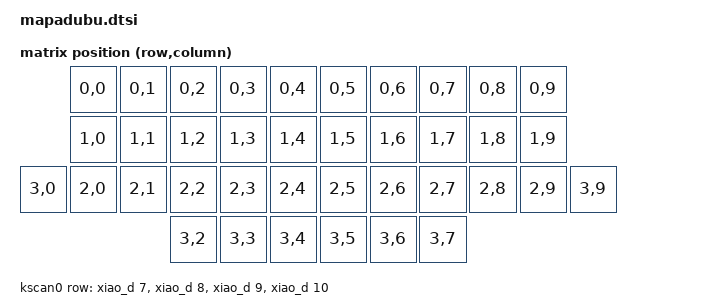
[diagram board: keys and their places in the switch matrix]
/*
 * Copyright (c) 2022 The ZMK Contributors
 *
 * SPDX-License-Identifier: MIT
 */
#include "./mapadubu-layout.dtsi"
#include <dt-bindings/zmk/matrix_transform.h>
#include <dt-bindings/led/led.h>

&pinctrl {
    spi3_default: spi3_default {
        group1 {
            psels = <NRF_PSEL(SPIM_MOSI, 1, 11)>;
        };
    };

    spi3_sleep: spi3_sleep {
        group1 {
            psels = <NRF_PSEL(SPIM_MOSI, 1, 11)>;
            low-power-enable;
        };
    };
};

&spi3 {
    compatible = "nordic,nrf-spim";
    status = "okay";
    pinctrl-0 = <&spi3_default>;
    pinctrl-1 = <&spi3_sleep>;
    pinctrl-names = "default", "sleep";

    led_strip: ws2812@0 {
        compatible = "worldsemi,ws2812-spi";
        reg = <0>; 
        spi-max-frequency = <4000000>;

        /* WS2812 Specifics */
        chain-length = <1>; /* <--- UPDATE THIS to the number of LEDs on EACH side */
        spi-one-frame = <0x70>;
        spi-zero-frame = <0x40>;
        color-mapping = <LED_COLOR_ID_GREEN LED_COLOR_ID_RED LED_COLOR_ID_BLUE>;
    };
};

/ {
    chosen {
//      zmk,kscan = &kscan0;
//		zmk,matrix_transform = &default_transform;
		zmk,physical-layout = &mapadubu_physical_layout;
        zmk,underglow = &led_strip;
    };

    default_transform: keymap_transform_0 {
        compatible = "zmk,matrix-transform";
        columns = <10>;
        rows = <4>;
//             | SW01  | SW02  | SW03  | SW04  | SW05  |  | SW05  | SW04  | SW03  | SW02  | SW01  |
//             | SW06  | SW07  | SW08  | SW09  | SW10  |  | SW10  | SW09  | SW08  | SW07  | SW06  | 
//      | SW16 | SW11  | SW12  | SW13  | SW14  | SW15  |  | SW15  | SW14  | SW13  | SW12  | SW11  | SW16  |
//                             | SW17  | SW18  | SW19  |  | SW19  | SW18  | SW17  | 
        map = <
                RC(0,0) RC(0,1) RC(0,2) RC(0,3) RC(0,4)    RC(0,5) RC(0,6) RC(0,7) RC(0,8) RC(0,9)
                RC(1,0) RC(1,1) RC(1,2) RC(1,3) RC(1,4)    RC(1,5) RC(1,6) RC(1,7) RC(1,8) RC(1,9)
        RC(3,0) RC(2,0) RC(2,1) RC(2,2) RC(2,3) RC(2,4)    RC(2,5) RC(2,6) RC(2,7) RC(2,8) RC(2,9) RC(3,9)
                                RC(3,2) RC(3,3) RC(3,4)    RC(3,5) RC(3,6) RC(3,7)         
        >;
    };


    kscan0: kscan_0 {
        compatible = "zmk,kscan-gpio-matrix";
        label = "KSCAN";
        
        diode-direction = "col2row"; 
        row-gpios
		    = <&xiao_d  7 (GPIO_ACTIVE_HIGH | GPIO_PULL_DOWN)>
            , <&xiao_d  8 (GPIO_ACTIVE_HIGH | GPIO_PULL_DOWN)>
            , <&xiao_d  9 (GPIO_ACTIVE_HIGH | GPIO_PULL_DOWN)>
            , <&xiao_d 10 (GPIO_ACTIVE_HIGH | GPIO_PULL_DOWN)>
            ;
    };
};
